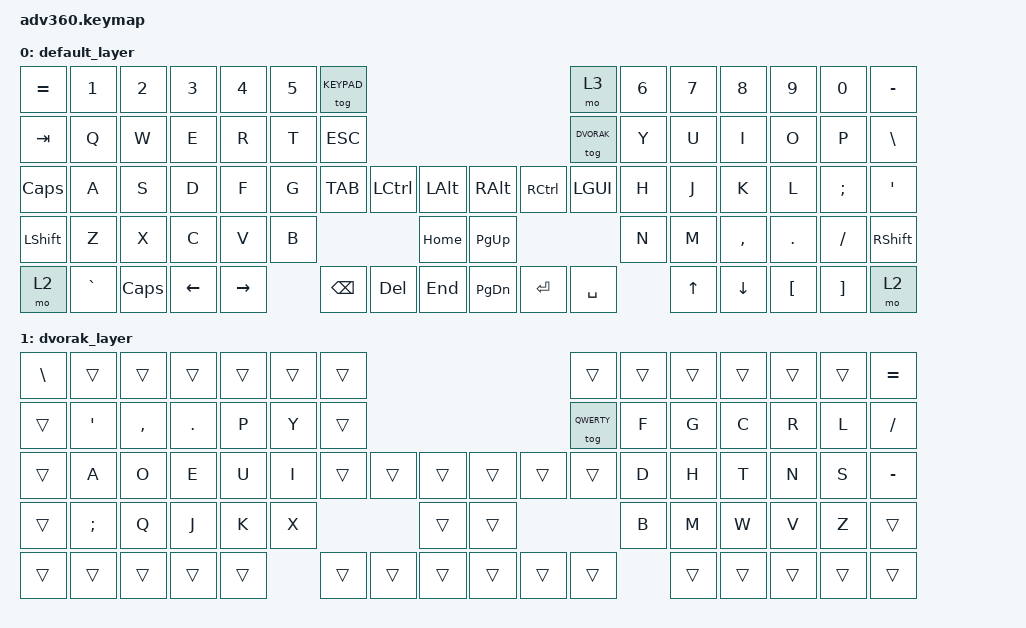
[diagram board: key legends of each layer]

/*
 * Copyright (c) 2020 The ZMK Contributors
 *
 * SPDX-License-Identifier: MIT
 */


/* THIS FILE WAS GENERATED!
 *
 * This file was generated automatically. You may or may not want to
 * edit it directly.
 */

#include <behaviors.dtsi>
#include <dt-bindings/zmk/keys.h>
#include <dt-bindings/zmk/bt.h>
#include <dt-bindings/zmk/rgb.h>
#include <dt-bindings/zmk/backlight.h>

#define QWERTY 0
#define DVORAK 1
#define KEYPAD 2
#define FUNCTION 3
#define MOD 4

/ {
  behaviors {
    #include "macros.dtsi"

    hm: homerow_mods {
        compatible = "zmk,behavior-hold-tap";
        label = "HOMEROW_MODS";
        #binding-cells = <2>;
        tapping-term-ms = <200>;
        quick_tap_ms = <175>;
        flavor = "tap-preferred";
        bindings = <&kp>, <&kp>;
    };
  };

    keymap {
        compatible = "zmk,keymap";

        default_layer {
            bindings = <
&kp EQUAL  &kp N1     &kp N2    &kp N3    &kp N4     &kp N5   &tog KEYPAD                                             &mo 3        &kp N6  &kp N7  &kp N8     &kp N9    &kp N0    &kp MINUS
&kp TAB    &kp Q      &kp W     &kp E     &kp R      &kp T    &ESC                                                    &tog DVORAK  &kp Y   &kp U   &kp I      &kp O     &kp P     &kp BSLH
&kp CAPS   &kp A      &kp S     &kp D     &kp F      &kp G    &TAB      &kp LCTRL  &kp LALT     &kp RALT   &kp RCTRL  &LGUI        &kp H   &kp J   &kp K      &kp L     &kp SEMI  &kp SQT
&kp LSHFT  &kp Z      &kp X     &kp C     &kp V      &kp B                         &kp HOME     &kp PG_UP                          &kp N   &kp M   &kp COMMA  &kp DOT   &kp FSLH  &kp RSHFT
&mo 2      &kp GRAVE  &kp CAPS  &kp LEFT  &kp RIGHT           &kp BSPC  &kp DEL    &kp END      &kp PG_DN  &kp ENTER  &kp SPACE            &kp UP  &kp DOWN   &kp LBKT  &kp RBKT  &mo 2
            >;
        };

        dvorak_layer {
            bindings = <
&kp BSLH  &trans    &trans     &trans   &trans  &trans  &trans                                     &trans       &trans  &trans  &trans  &trans  &trans  &kp EQUAL
&trans    &kp SQT   &kp COMMA  &kp DOT  &kp P   &kp Y   &trans                                     &tog QWERTY  &kp F   &kp G   &kp C   &kp R   &kp L   &kp FSLH
&trans    &kp A     &kp O      &kp E    &kp U   &kp I   &trans  &trans  &trans     &trans  &trans  &trans       &kp D   &kp H   &kp T   &kp N   &kp S   &kp MINUS
&trans    &kp SEMI  &kp Q      &kp J    &kp K   &kp X                   &trans     &trans                       &kp B   &kp M   &kp W   &kp V   &kp Z   &trans
&trans    &trans    &trans     &trans   &trans          &trans  &trans  &trans     &trans  &trans  &trans               &trans  &trans  &trans  &trans  &trans
            >;
        };

        keypad_layer {
            bindings = <
&trans &trans &trans &trans &trans &trans &trans                                  &trans     &trans  &kp KP_NUM  &kp KP_EQUAL &kp KP_DIVIDE &kp KP_MULTIPLY &trans
&trans &trans &trans &trans &trans &trans &trans                                  &trans     &trans  &kp KP_N7   &kp KP_N8    &kp KP_N9     kp KP_MINUS     &trans
&trans &trans &trans &trans &trans &trans &trans &trans &trans    &trans  &trans  &trans     &trans  &kp KP_N4   &kp KP_N5     &kp KP_N6    &kp KP_PLUS     &trans
&trans &trans &trans &trans &trans &trans               &trans    &trans                     &trans  &kp KP_N1   &kp KP_N2     &kp KP_N3    &kp KP_ENTER    &trans
&trans &trans &trans &trans &trans        &trans &trans &trans    &trans  &trans  &kp KP_N0          &trans      &trans        &trans       &trans          &trans

        function_layer {
            bindings = <
&kp F1  &kp F2  &kp F3  &kp F4  &kp F5  &kp F6  &trans                                    &mo 3   &kp F7  &kp F8  &kp F9  &kp F10  &kp F11  &kp F12
&trans  &trans  &trans  &trans  &trans  &trans  &trans                                    &trans  &trans  &trans  &trans  &trans   &trans   &trans
&trans  &trans  &trans  &trans  &trans  &trans  &trans  &trans  &trans    &trans  &trans  &trans  &trans  &trans  &trans  &trans   &trans   &trans
&trans  &trans  &trans  &trans  &trans  &trans                  &trans    &trans                  &trans  &trans  &trans  &trans   &trans   &trans
&trans  &trans  &trans  &trans  &trans          &trans  &trans  &trans    &trans  &trans  &trans          &trans  &trans  &trans   &trans   &trans
            >;
        };

        mod_layer {
            bindings = <
&none &bt BT_SEL 0  &bt BT_SEL 1  &bt BT_SEL 2  &bt BT_SEL 3  &bt BT_SEL 4  &none                                       &trans                 &none &none      &none       &none &none &none
&none &none         &none         &none         &none         &none         &bootloader                                 &bootloader            &none &none      &none       &none &none &none
&none &none         &none         &none         &none         &none         &none &none &none    &bt BT_CLR &none       &rgb_ug RGB_MEFS_CMD 5 &none &none      &none       &none &none &none
&none &none         &none         &none         &none         &none                     &none    &none                                         &none &none      &none       &none &none &none
&none &none         &none         &none         &none                       &none &none &none    &none      &bl BL_TOG  &rgb_ug RGB_TOG              &bl BL_INC &bl BL_DEC  &none &none &none
            >;
        };
    };
};
